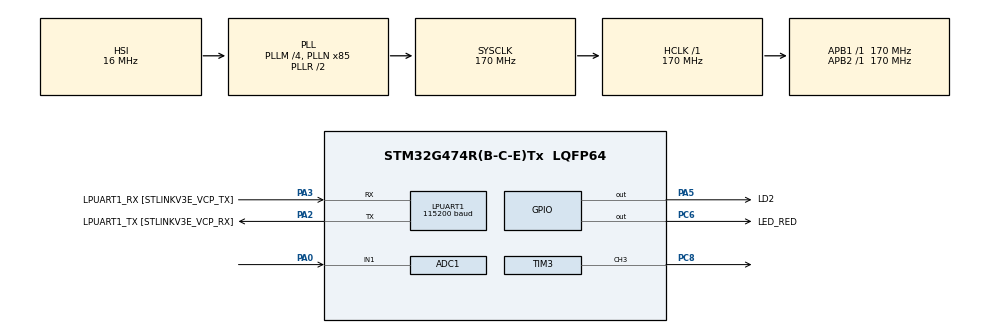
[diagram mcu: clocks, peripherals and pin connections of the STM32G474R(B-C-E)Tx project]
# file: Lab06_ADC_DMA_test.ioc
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ADC1.Channel-0\#ChannelRegularConversion=ADC_CHANNEL_1
ADC1.DMAContinuousRequests=ENABLE
ADC1.ExternalTrigConv=ADC_EXTERNALTRIG_T3_TRGO
ADC1.NbrOfConversionFlag=1
ADC1.OffsetNumber-0\#ChannelRegularConversion=ADC_OFFSET_NONE
ADC1.Rank-0\#ChannelRegularConversion=1
ADC1.SamplingTime-0\#ChannelRegularConversion=ADC_SAMPLETIME_2CYCLES_5
ADC1.master=1
Dma.ADC1.0.Direction=DMA_PERIPH_TO_MEMORY
Dma.ADC1.0.EventEnable=DISABLE
Dma.ADC1.0.Instance=DMA1_Channel1
Dma.ADC1.0.MemDataAlignment=DMA_MDATAALIGN_HALFWORD
Dma.ADC1.0.MemInc=DMA_MINC_ENABLE
Dma.ADC1.0.Mode=DMA_CIRCULAR
Dma.ADC1.0.PeriphDataAlignment=DMA_PDATAALIGN_HALFWORD
Dma.ADC1.0.PeriphInc=DMA_PINC_DISABLE
Dma.ADC1.0.Polarity=HAL_DMAMUX_REQ_GEN_RISING
Dma.ADC1.0.Priority=DMA_PRIORITY_LOW
Dma.ADC1.0.RequestNumber=1
Dma.ADC1.0.SignalID=NONE
Dma.ADC1.0.SyncEnable=DISABLE
Dma.ADC1.0.SyncPolarity=HAL_DMAMUX_SYNC_NO_EVENT
Dma.ADC1.0.SyncRequestNumber=1
Dma.ADC1.0.SyncSignalID=NONE
Dma.Request0=ADC1
LPUART1.BaudRate=115200
Mcu.Family=STM32G4
Mcu.Name=STM32G474R(B-C-E)Tx
Mcu.Package=LQFP64
NVIC.DMA1_Channel1_IRQn=true\:0\:0\:false\:false\:true\:false\:true\:true
NVIC.PriorityGroup=NVIC_PRIORITYGROUP_4
PA0.Mode=IN1-Single-Ended
PA0.Signal=ADC1_IN1
PA13.GPIO_Label=T_SWDIO
PA13.Signal=SYS_JTMS-SWDIO
PA14.GPIO_Label=T_SWCLK
PA14.Signal=SYS_JTCK-SWCLK
PA2.GPIO_Label=LPUART1_TX [STLINKV3E_VCP_RX]
PA2.Mode=Asynchronous
PA2.Signal=LPUART1_TX
PA3.GPIO_Label=LPUART1_RX [STLINKV3E_VCP_TX]
PA3.Mode=Asynchronous
PA3.Signal=LPUART1_RX
PA5.GPIO_Label=LD2
PA5.Signal=GPIO_Output
PB3.GPIO_Label=T_SWO
PB3.Signal=SYS_JTDO-SWO
PC14-OSC32_IN.GPIO_Label=RCC_OSC32_IN
PC14-OSC32_IN.Signal=RCC_OSC32_IN
PC15-OSC32_OUT.GPIO_Label=RCC_OSC32_OUT
PC15-OSC32_OUT.Signal=RCC_OSC32_OUT
PC6.GPIO_Label=LED_RED
PC6.Signal=GPIO_Output
PC8.Signal=S_TIM3_CH3
PF0-OSC_IN.GPIO_Label=RCC_OSC_IN
PF0-OSC_IN.Signal=RCC_OSC_IN
PF1-OSC_OUT.GPIO_Label=RCC_OSC_OUT
PF1-OSC_OUT.Signal=RCC_OSC_OUT
ProjectManager.HeapSize=0x200
ProjectManager.StackSize=0x400
ProjectManager.TargetToolchain=STM32CubeIDE
RCC.ADC12Freq_Value=170000000
RCC.ADC345Freq_Value=170000000
RCC.AHBFreq_Value=170000000
RCC.APB1Freq_Value=170000000
RCC.APB1TimFreq_Value=170000000
RCC.APB2Freq_Value=170000000
RCC.APB2TimFreq_Value=170000000
RCC.CortexFreq_Value=170000000
RCC.EXTERNAL_CLOCK_VALUE=12288000
RCC.HCLKFreq_Value=170000000
RCC.HSE_VALUE=24000000
RCC.HSI48_VALUE=48000000
RCC.HSI_VALUE=16000000
RCC.LSE_VALUE=32768
RCC.PLLM=RCC_PLLM_DIV4
RCC.PLLN=85
RCC.RTCClockSelection=RCC_RTCCLKSOURCE_LSE
RCC.SYSCLKFreq_VALUE=170000000
RCC.SYSCLKSource=RCC_SYSCLKSOURCE_PLLCLK
RCC.USBFreq_Value=170000000
RCC.VCOOutputFreq_Value=340000000
SH.S_TIM3_CH3.0=TIM3_CH3,PWM Generation3 CH3
TIM3.Channel-PWM\ Generation3\ CH3=TIM_CHANNEL_3
TIM3.PeriodNoDither=124
TIM3.Prescaler=169
TIM3.PulseNoDither_3=62
TIM3.TIM_MasterOutputTrigger=TIM_TRGO_UPDATE
VP_SYS_VS_DBSignals.Mode=DisableDeadBatterySignals
VP_TIM3_VS_ClockSourceINT.Mode=Internal
board=NUCLEO-G474RE

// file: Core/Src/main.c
/* USER CODE BEGIN Header */
/**
  ******************************************************************************
  * @file           : main.c
  * @brief          : Main program body
  ******************************************************************************
  * @attention
  *
  * Copyright (c) 2026 STMicroelectronics.
  * All rights reserved.
  *
  * This software is licensed under terms that can be found in the LICENSE file
  * in the root directory of this software component.
  * If no LICENSE file comes with this software, it is provided AS-IS.
  *
  ******************************************************************************
  */
/* USER CODE END Header */
#include "main.h"

/* USER CODE BEGIN Includes */
#include <stdio.h>
/* USER CODE END Includes */

ADC_HandleTypeDef hadc1;
DMA_HandleTypeDef hdma_adc1;

UART_HandleTypeDef hlpuart1;

TIM_HandleTypeDef htim3;

/* USER CODE BEGIN PV */

uint32_t smooth_loud = 0;
uint32_t pwm_current = 0;

#define ADC_BUF_SIZE 256

uint16_t adc_buf[ADC_BUF_SIZE];

volatile uint8_t process_flag = 0;

uint32_t noise = 0;
uint32_t trigger = 0;
uint32_t loud = 0;

uint8_t led_state = 0;
uint8_t noise_ready = 0;
uint8_t sound_latched = 0;

uint32_t calibration_start = 0;
uint32_t last_trigger_ms = 0;
uint32_t noise_max = 0;
uint32_t noise_min = 4095;
/* USER CODE END PV */

void SystemClock_Config(void);
static void MX_GPIO_Init(void);
static void MX_DMA_Init(void);
static void MX_LPUART1_UART_Init(void);
static void MX_ADC1_Init(void);
static void MX_TIM3_Init(void);

/* USER CODE BEGIN 0 */
int __io_putchar(int ch)
{
    HAL_UART_Transmit(&hlpuart1, (uint8_t *)&ch, 1, 100);
    return ch;
}
void HAL_ADC_ConvHalfCpltCallback(ADC_HandleTypeDef *hadc)
{
    if (hadc->Instance == ADC1)
    {
        process_flag = 1;
    }
}

void HAL_ADC_ConvCpltCallback(ADC_HandleTypeDef *hadc)
{
    if (hadc->Instance == ADC1)
    {
        process_flag = 2;
    }
}
/* USER CODE END 0 */

int main(void)
{

  /* MCU Configuration--------------------------------------------------------*/

  /* Reset of all peripherals, Initializes the Flash interface and the Systick. */
  HAL_Init();

  /* Configure the system clock */
  SystemClock_Config();

  /* Initialize all configured peripherals */
  MX_GPIO_Init();
  MX_DMA_Init();
  MX_LPUART1_UART_Init();
  MX_ADC1_Init();
  MX_TIM3_Init();
  /* USER CODE BEGIN 2 */
  HAL_ADCEx_Calibration_Start(&hadc1, ADC_SINGLE_ENDED);

  HAL_ADC_Start_DMA(&hadc1, (uint32_t *)adc_buf, ADC_BUF_SIZE);

  HAL_TIM_Base_Start(&htim3);

  HAL_TIM_PWM_Start(&htim3, TIM_CHANNEL_3);

  calibration_start = HAL_GetTick();
  /* USER CODE END 2 */

  /* Infinite loop */
  /* USER CODE BEGIN WHILE */
  while (1)
  {
      if (process_flag != 0)
      {
          uint8_t flag = process_flag;
          process_flag = 0;

          uint16_t start = (flag == 1) ? 0 : 128;

          uint32_t adc_max = 0;
          uint32_t adc_min = 4095;

          for (uint16_t i = start; i < start + 128; i++)
          {
              if (adc_buf[i] > adc_max)
                  adc_max = adc_buf[i];

              if (adc_buf[i] < adc_min)
                  adc_min = adc_buf[i];
          }

          loud = adc_max - adc_min;

          /* PWM 聲控律動燈：持續追蹤音量 */

          /* 平滑音量，避免 LED 一直閃爍 */
          if (loud > smooth_loud)
          {
              smooth_loud = (smooth_loud * 2 + loud * 3) / 5;
          }
          else
          {
              smooth_loud = (smooth_loud * 7 + loud) / 8;
          }

          /* 根據音量決定目標亮度 */
          uint32_t pwm_target = 0;

          if (noise_ready)
          {
              if (smooth_loud < trigger)
                  pwm_target = 0;
              else if (smooth_loud < trigger * 2)
                  pwm_target = 41;
              else if (smooth_loud < trigger * 3)
                  pwm_target = 83;
              else
                  pwm_target = 125;
          }

          /* 讓亮度平滑變化 */
          if (pwm_current < pwm_target)
          {
              pwm_current += 5;

              if (pwm_current > pwm_target)
                  pwm_current = pwm_target;
          }
          else if (pwm_current > pwm_target)
          {
              if (pwm_current > pwm_target + 2)
                  pwm_current -= 2;
              else
                  pwm_current = pwm_target;
          }

          /* 更新 PC8 的 PWM */
          __HAL_TIM_SET_COMPARE(
              &htim3,
              TIM_CHANNEL_3,
              pwm_current
          );

          if (!noise_ready)
          {
              if (loud > noise)
                  noise = loud;

              if (HAL_GetTick() - calibration_start >= 1000)
              {
                  trigger = noise * 3 + 30;
                  noise_ready = 1;
              }
          }
          else
          {
              if (loud > trigger && !sound_latched)
              {
                  if (HAL_GetTick() - last_trigger_ms >= 200)
                  {
                      led_state = !led_state;

                      HAL_GPIO_WritePin(
                          GPIOC,
                          GPIO_PIN_6,
                          led_state ? GPIO_PIN_SET : GPIO_PIN_RESET
                      );

                      last_trigger_ms = HAL_GetTick();
                      sound_latched = 1;
                  }
              }

              if (loud < trigger / 2)
              {
                  sound_latched = 0;
              }
          }
      }

    /* USER CODE END WHILE */

  }
}

void SystemClock_Config(void)
{
  RCC_OscInitTypeDef RCC_OscInitStruct = {0};
  RCC_ClkInitTypeDef RCC_ClkInitStruct = {0};

  /** Configure the main internal regulator output voltage
  */
  HAL_PWREx_ControlVoltageScaling(PWR_REGULATOR_VOLTAGE_SCALE1_BOOST);

  /** Initializes the RCC Oscillators according to the specified parameters
  * in the RCC_OscInitTypeDef structure.
  */
  RCC_OscInitStruct.OscillatorType = RCC_OSCILLATORTYPE_HSI;
  RCC_OscInitStruct.HSIState = RCC_HSI_ON;
  RCC_OscInitStruct.HSICalibrationValue = RCC_HSICALIBRATION_DEFAULT;
  RCC_OscInitStruct.PLL.PLLState = RCC_PLL_ON;
  RCC_OscInitStruct.PLL.PLLSource = RCC_PLLSOURCE_HSI;
  RCC_OscInitStruct.PLL.PLLM = RCC_PLLM_DIV4;
  RCC_OscInitStruct.PLL.PLLN = 85;
  RCC_OscInitStruct.PLL.PLLP = RCC_PLLP_DIV2;
  RCC_OscInitStruct.PLL.PLLQ = RCC_PLLQ_DIV2;
  RCC_OscInitStruct.PLL.PLLR = RCC_PLLR_DIV2;
  if (HAL_RCC_OscConfig(&RCC_OscInitStruct) != HAL_OK)
  {
    Error_Handler();
  }

  /** Initializes the CPU, AHB and APB buses clocks
  */
  RCC_ClkInitStruct.ClockType = RCC_CLOCKTYPE_HCLK|RCC_CLOCKTYPE_SYSCLK
                              |RCC_CLOCKTYPE_PCLK1|RCC_CLOCKTYPE_PCLK2;
  RCC_ClkInitStruct.SYSCLKSource = RCC_SYSCLKSOURCE_PLLCLK;
  RCC_ClkInitStruct.AHBCLKDivider = RCC_SYSCLK_DIV1;
  RCC_ClkInitStruct.APB1CLKDivider = RCC_HCLK_DIV1;
  RCC_ClkInitStruct.APB2CLKDivider = RCC_HCLK_DIV1;

  if (HAL_RCC_ClockConfig(&RCC_ClkInitStruct, FLASH_LATENCY_4) != HAL_OK)
  {
    Error_Handler();
  }
}

static void MX_ADC1_Init(void)
{

  ADC_MultiModeTypeDef multimode = {0};
  ADC_ChannelConfTypeDef sConfig = {0};

  /** Common config
  */
  hadc1.Instance = ADC1;
  hadc1.Init.ClockPrescaler = ADC_CLOCK_SYNC_PCLK_DIV4;
  hadc1.Init.Resolution = ADC_RESOLUTION_12B;
  hadc1.Init.DataAlign = ADC_DATAALIGN_RIGHT;
  hadc1.Init.GainCompensation = 0;
  hadc1.Init.ScanConvMode = ADC_SCAN_DISABLE;
  hadc1.Init.EOCSelection = ADC_EOC_SINGLE_CONV;
  hadc1.Init.LowPowerAutoWait = DISABLE;
  hadc1.Init.ContinuousConvMode = DISABLE;
  hadc1.Init.NbrOfConversion = 1;
  hadc1.Init.DiscontinuousConvMode = DISABLE;
  hadc1.Init.ExternalTrigConv = ADC_EXTERNALTRIG_T3_TRGO;
  hadc1.Init.ExternalTrigConvEdge = ADC_EXTERNALTRIGCONVEDGE_RISING;
  hadc1.Init.DMAContinuousRequests = ENABLE;
  hadc1.Init.Overrun = ADC_OVR_DATA_PRESERVED;
  hadc1.Init.OversamplingMode = DISABLE;
  if (HAL_ADC_Init(&hadc1) != HAL_OK)
  {
    Error_Handler();
  }

  /** Configure the ADC multi-mode
  */
  multimode.Mode = ADC_MODE_INDEPENDENT;
  if (HAL_ADCEx_MultiModeConfigChannel(&hadc1, &multimode) != HAL_OK)
  {
    Error_Handler();
  }

  /** Configure Regular Channel
  */
  sConfig.Channel = ADC_CHANNEL_1;
  sConfig.Rank = ADC_REGULAR_RANK_1;
  sConfig.SamplingTime = ADC_SAMPLETIME_2CYCLES_5;
  sConfig.SingleDiff = ADC_SINGLE_ENDED;
  sConfig.OffsetNumber = ADC_OFFSET_NONE;
  sConfig.Offset = 0;
  if (HAL_ADC_ConfigChannel(&hadc1, &sConfig) != HAL_OK)
  {
    Error_Handler();
  }

}

static void MX_LPUART1_UART_Init(void)
{

  hlpuart1.Instance = LPUART1;
  hlpuart1.Init.BaudRate = 115200;
  hlpuart1.Init.WordLength = UART_WORDLENGTH_8B;
  hlpuart1.Init.StopBits = UART_STOPBITS_1;
  hlpuart1.Init.Parity = UART_PARITY_NONE;
  hlpuart1.Init.Mode = UART_MODE_TX_RX;
  hlpuart1.Init.HwFlowCtl = UART_HWCONTROL_NONE;
  hlpuart1.Init.OneBitSampling = UART_ONE_BIT_SAMPLE_DISABLE;
  hlpuart1.Init.ClockPrescaler = UART_PRESCALER_DIV1;
  hlpuart1.AdvancedInit.AdvFeatureInit = UART_ADVFEATURE_NO_INIT;
  if (HAL_UART_Init(&hlpuart1) != HAL_OK)
  {
    Error_Handler();
  }
  if (HAL_UARTEx_SetTxFifoThreshold(&hlpuart1, UART_TXFIFO_THRESHOLD_1_8) != HAL_OK)
  {
    Error_Handler();
  }
  if (HAL_UARTEx_SetRxFifoThreshold(&hlpuart1, UART_RXFIFO_THRESHOLD_1_8) != HAL_OK)
  {
    Error_Handler();
  }
  if (HAL_UARTEx_DisableFifoMode(&hlpuart1) != HAL_OK)
  {
    Error_Handler();
  }

}

static void MX_TIM3_Init(void)
{

  TIM_ClockConfigTypeDef sClockSourceConfig = {0};
  TIM_MasterConfigTypeDef sMasterConfig = {0};
  TIM_OC_InitTypeDef sConfigOC = {0};

  htim3.Instance = TIM3;
  htim3.Init.Prescaler = 169;
  htim3.Init.CounterMode = TIM_COUNTERMODE_UP;
  htim3.Init.Period = 124;
  htim3.Init.ClockDivision = TIM_CLOCKDIVISION_DIV1;
  htim3.Init.AutoReloadPreload = TIM_AUTORELOAD_PRELOAD_DISABLE;
  if (HAL_TIM_Base_Init(&htim3) != HAL_OK)
  {
    Error_Handler();
  }
  sClockSourceConfig.ClockSource = TIM_CLOCKSOURCE_INTERNAL;
  if (HAL_TIM_ConfigClockSource(&htim3, &sClockSourceConfig) != HAL_OK)
  {
    Error_Handler();
  }
  if (HAL_TIM_PWM_Init(&htim3) != HAL_OK)
  {
    Error_Handler();
  }
  sMasterConfig.MasterOutputTrigger = TIM_TRGO_UPDATE;
  sMasterConfig.MasterSlaveMode = TIM_MASTERSLAVEMODE_DISABLE;
  if (HAL_TIMEx_MasterConfigSynchronization(&htim3, &sMasterConfig) != HAL_OK)
  {
    Error_Handler();
  }
  sConfigOC.OCMode = TIM_OCMODE_PWM1;
  sConfigOC.Pulse = 62;
  sConfigOC.OCPolarity = TIM_OCPOLARITY_HIGH;
  sConfigOC.OCFastMode = TIM_OCFAST_DISABLE;
  if (HAL_TIM_PWM_ConfigChannel(&htim3, &sConfigOC, TIM_CHANNEL_3) != HAL_OK)
  {
    Error_Handler();
  }
  HAL_TIM_MspPostInit(&htim3);

}

static void MX_DMA_Init(void)
{

  /* DMA controller clock enable */
  __HAL_RCC_DMAMUX1_CLK_ENABLE();
  __HAL_RCC_DMA1_CLK_ENABLE();

  /* DMA interrupt init */
  /* DMA1_Channel1_IRQn interrupt configuration */
  HAL_NVIC_SetPriority(DMA1_Channel1_IRQn, 0, 0);
  HAL_NVIC_EnableIRQ(DMA1_Channel1_IRQn);

}

static void MX_GPIO_Init(void)
{
  GPIO_InitTypeDef GPIO_InitStruct = {0};

  /* GPIO Ports Clock Enable */
  __HAL_RCC_GPIOC_CLK_ENABLE();
  __HAL_RCC_GPIOF_CLK_ENABLE();
  __HAL_RCC_GPIOA_CLK_ENABLE();
  __HAL_RCC_GPIOB_CLK_ENABLE();

  /*Configure GPIO pin Output Level */
  HAL_GPIO_WritePin(LD2_GPIO_Port, LD2_Pin, GPIO_PIN_RESET);

  /*Configure GPIO pin Output Level */
  HAL_GPIO_WritePin(LED_RED_GPIO_Port, LED_RED_Pin, GPIO_PIN_RESET);

  /*Configure GPIO pin : LD2_Pin */
  GPIO_InitStruct.Pin = LD2_Pin;
  GPIO_InitStruct.Mode = GPIO_MODE_OUTPUT_PP;
  GPIO_InitStruct.Pull = GPIO_NOPULL;
  GPIO_InitStruct.Speed = GPIO_SPEED_FREQ_LOW;
  HAL_GPIO_Init(LD2_GPIO_Port, &GPIO_InitStruct);

  /*Configure GPIO pin : LED_RED_Pin */
  GPIO_InitStruct.Pin = LED_RED_Pin;
  GPIO_InitStruct.Mode = GPIO_MODE_OUTPUT_PP;
  GPIO_InitStruct.Pull = GPIO_NOPULL;
  GPIO_InitStruct.Speed = GPIO_SPEED_FREQ_LOW;
  HAL_GPIO_Init(LED_RED_GPIO_Port, &GPIO_InitStruct);

}

void Error_Handler(void)
{
  __disable_irq();
  while (1)
  {
  }
}
